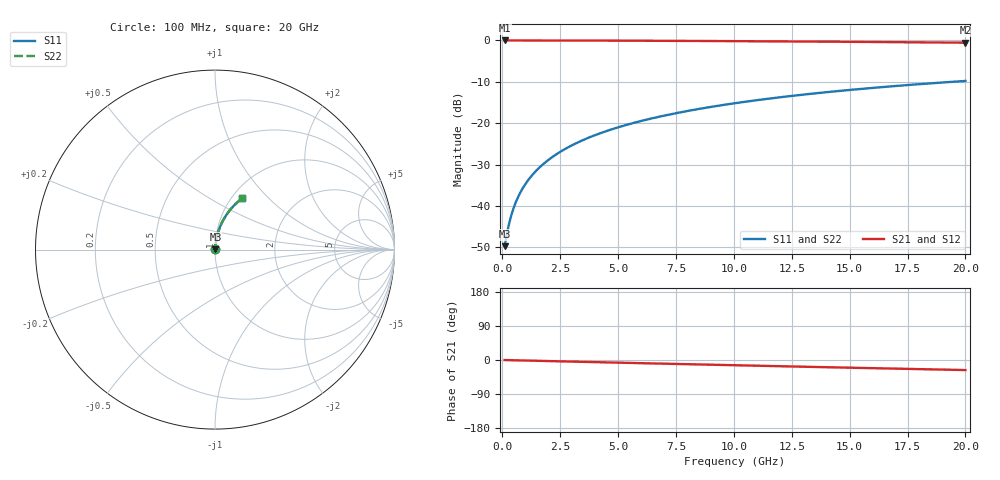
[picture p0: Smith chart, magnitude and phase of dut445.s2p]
! Touchstone file exported from HFSS 2026.1.0
!  File:  C:/ffzhzh/LocalFiles/Ansys_Project_Files/temp_train_BSMRDL_445_1783013185_53980.aedt
!  Generated:  01:27:57 AM Jul  3, 2026
!  Design:  BSMRDL
!  Project:  temp_train_BSMRDL_445_1783013185_53980
! Variables:
!  h_bsmrdl = 3.5um
!  h_ox = 20um
!  h_rdl = 5um
!  h_sub = 80um
!  h_tmrdl = 5um
!  h_tsv = 80um
!  h_via = 3um
!  l_bsmrdl = 306.15um
!  l_sub = 706.15um
!  l_tmrdl = 200um
!  m_sub = 200um
!  pitch = 47.14um
!  r_tsv = 6um
!  s_tmrdl = 10um
!  w_bsmrdl = 12.13um
!  w_sub = 500um
!  w_tmrdl = 12um
!  x_tsv_center1 = 206um
!  x_tsv_center2 = 524.28um
!  x_tsv_center3 = 736.28um
!  x_tsv_center4 = 1054.56um
!  x_tsv_center5 = 1266.56um
!  x_tsv_center6 = 1584.84um
# GHz S MA R 50.000000
! Terminal data exported
! Port[1] = BSM_RDL1_1_T1
! Port[2] = BSM_RDL1_1_T2
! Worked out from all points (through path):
!   200 points, 100 MHz to 20 GHz, reference 50 ohm
!   highest |S21| = -0.02 dB at 100 MHz (marker M1); lowest = -0.6 dB at 20 GHz (marker M2)
!   group delay of S21, straight-line fit = 3.69 ps
!   lowest |S11| = -49.7 dB at 100 MHz (marker M3), VSWR 1.01, Z = 50.3 + j0.187 ohm
!   |S11| at or under -10 dB: start of sweep to 19.48 GHz
!   |S22| runs from -49.7 to -9.8 dB; largest |S21 - S12| = 3.5e-15
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0.1  0.003263 34.7  0.9973 -0.1  0.9973 -0.1  0.003263 34.7
! Gamma 0 0 0 0
! Port Impedance 50 0 50 0
0.2  0.004603 53.7  0.9973 -0.3  0.9973 -0.3  0.004603 53.7
0.3  0.006205 63.2  0.9972 -0.4  0.9972 -0.4  0.006205 63.2
0.4  0.007897 68.6  0.9972 -0.6  0.9972 -0.6  0.007897 68.6
0.5  0.009624 72.0  0.9971 -0.7  0.9971 -0.7  0.009624 72.0
0.6  0.01137 74.4  0.997 -0.9  0.997 -0.9  0.01137 74.4
0.8  0.01487 77.3  0.9969 -1.1  0.9969 -1.1  0.01487 77.3
1.1  0.02016 79.7  0.9968 -1.6  0.9968 -1.6  0.02016 79.7
1.5  0.02724 81.3  0.9965 -2.1  0.9965 -2.1  0.02724 81.3
1.8  0.03256 81.8  0.9963 -2.5  0.9963 -2.5  0.03256 81.8
2.1  0.03789 82.1  0.996 -3.0  0.996 -3.0  0.03789 82.1
2.7  0.04853 82.2  0.9954 -3.8  0.9954 -3.8  0.04853 82.2
3.5  0.06268 81.8  0.9944 -4.9  0.9944 -4.9  0.06268 81.8
4.2  0.07499 81.2  0.9933 -5.9  0.9933 -5.9  0.07499 81.2
5  0.08896 80.3  0.9919 -7.0  0.9919 -7.0  0.08896 80.3
5.9  0.1045 79.3  0.9901 -8.2  0.9901 -8.2  0.1045 79.3
6.8  0.12 78.2  0.988 -9.5  0.988 -9.5  0.12 78.2
8.3  0.1453 76.4  0.984 -11.5  0.984 -11.5  0.1453 76.4
10.1  0.175 74.1  0.9786 -13.9  0.9786 -13.9  0.175 74.1
13.4  0.2273 69.9  0.9668 -18.3  0.9668 -18.3  0.2273 69.9
16.7  0.2769 65.9  0.953 -22.5  0.953 -22.5  0.2769 65.9
20  0.3234 61.9  0.9378 -26.6  0.9378 -26.6  0.3234 61.9
